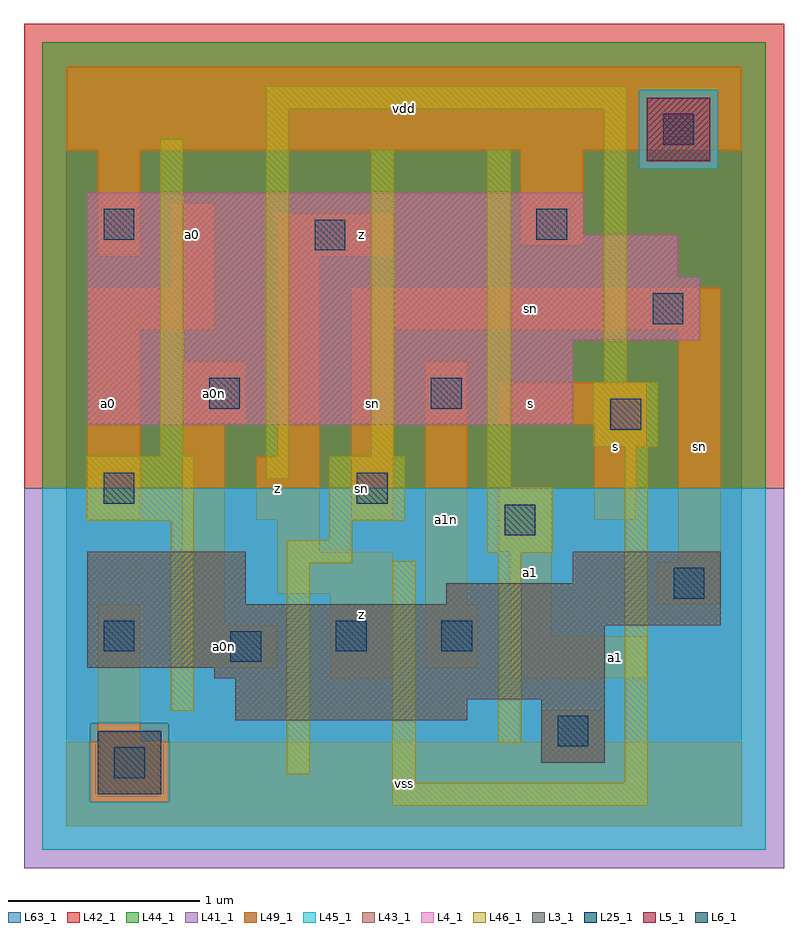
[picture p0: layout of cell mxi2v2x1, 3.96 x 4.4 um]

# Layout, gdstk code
import gdstk
lib = gdstk.Library(unit=1e-6, precision=1e-09)
def R(c, l, rs):  # rectangles x0, y0, x1, y1
    for r in rs: c.add(gdstk.rectangle(r[:2], r[2:], *l))
L3_1 = (3, 1)
L4_1 = (4, 1)
L5_1 = (5, 1)
L6_1 = (6, 1)
L25_1 = (25, 1)
L41_1 = (41, 1)
L42_1 = (42, 1)
L43_1 = (43, 1)
L44_1 = (44, 1)
L45_1 = (45, 1)
L46_1 = (46, 1)
L49_1 = (49, 1)
L63_1 = (63, 1)

mxi2v2x1 = lib.new_cell('mxi2v2x1')
R(mxi2v2x1, L3_1, [(2.475,0.33,2.805,0.66), (0.88,0.55,2.09,0.66), (0.88,0.66,2.805,0.77), (0.77,0.77,2.805,0.825), (0.11,0.825,2.805,1.045), (0.11,1.045,3.41,1.155), (0.11,1.155,0.935,1.43), (1.98,1.155,3.41,1.265), (2.64,1.265,3.41,1.43)])
R(mxi2v2x1, L4_1, [(0.11,2.09,2.64,2.53), (0.11,2.53,3.3,2.86), (0.11,2.86,3.19,3.08), (0.11,3.08,2.695,3.3)])
R(mxi2v2x1, L5_1, [(3.025,3.465,3.355,3.795)])
R(mxi2v2x1, L6_1, [(0.165,0.165,0.495,0.495)])
R(mxi2v2x1, L25_1, [(0.25,0.25,0.41,0.41), (2.56,0.415,2.72,0.575), (0.855,0.855,1.015,1.015), (0.195,0.91,0.355,1.07), (1.405,0.91,1.565,1.07), (1.955,0.91,2.115,1.07), (3.165,1.185,3.325,1.345), (2.285,1.515,2.445,1.675), (0.195,1.68,0.355,1.84), (1.515,1.68,1.675,1.84), (2.835,2.065,2.995,2.225), (0.745,2.175,0.905,2.335), (1.9,2.175,2.06,2.335), (3.055,2.615,3.215,2.775), (1.295,3,1.455,3.16), (0.195,3.055,0.355,3.215), (2.45,3.055,2.61,3.215), (3.11,3.55,3.27,3.71)])
R(mxi2v2x1, L41_1, [(-0.22,-0.22,3.74,1.76)])
R(mxi2v2x1, L42_1, [(-0.22,1.76,3.74,4.18)])
R(mxi2v2x1, L43_1, [(0.165,0.165,0.495,0.495), (2.475,0.33,2.805,0.66), (0.88,0.55,2.09,0.66), (0.88,0.66,2.805,0.77), (0.77,0.77,2.805,0.825), (0.11,0.825,2.805,1.045), (0.11,1.045,3.41,1.155), (0.11,1.155,0.935,1.43), (1.98,1.155,3.41,1.265), (2.64,1.265,3.41,1.43), (0.11,2.09,2.64,2.53), (0.11,2.53,3.3,2.86), (0.11,2.86,3.19,3.08), (0.11,3.08,2.695,3.3), (3.025,3.465,3.355,3.795)])
R(mxi2v2x1, L44_1, [(0.125,0.125,0.535,0.535), (-0.125,1.76,3.645,3.425), (-0.125,3.425,2.985,3.835), (3.395,3.425,3.645,3.835), (-0.125,3.835,3.645,4.085)])
R(mxi2v2x1, L45_1, [(-0.125,-0.125,3.645,0.125), (-0.125,0.125,0.125,0.535), (0.535,0.125,3.645,0.535), (-0.125,0.535,3.645,1.76), (2.985,3.425,3.395,3.835)])
R(mxi2v2x1, L46_1, [(1.7,0.105,3.03,0.225), (1.7,0.225,1.82,1.38), (2.91,0.225,3.03,1.975), (1.15,0.27,1.27,1.37), (2.25,0.435,2.37,1.425), (0.545,0.6,0.665,1.59), (1.15,1.37,1.49,1.49), (2.195,1.425,2.535,1.765), (1.37,1.49,1.49,1.59), (0.105,1.59,0.665,1.93), (1.37,1.59,1.765,1.93), (2.195,1.765,2.315,3.525), (1.04,1.81,1.16,3.735), (0.49,1.93,0.61,3.58), (1.59,1.93,1.71,3.525), (2.745,1.975,3.085,2.315), (2.8,2.315,2.92,3.735), (1.04,3.735,2.92,3.855)])
R(mxi2v2x1, L49_1, [(0,0,3.52,0.44), (0.165,0.44,0.385,1.155), (2.475,0.44,2.805,0.605), (1.375,0.77,1.705,1.21), (2.31,0.77,3.025,0.99), (0.605,0.825,1.1,1.045), (1.87,0.825,2.145,1.155), (2.31,0.99,2.53,1.43), (0.605,1.045,0.825,2.09), (1.87,1.155,2.09,2.42), (3.08,1.155,3.41,1.375), (1.1,1.21,1.705,1.43), (3.19,1.375,3.41,2.585), (1.1,1.43,1.32,1.595), (2.255,1.43,2.53,1.76), (0.11,1.595,0.385,2.585), (0.99,1.595,1.32,1.925), (1.485,1.595,1.705,2.585), (2.75,1.595,2.97,1.98), (1.1,1.925,1.32,2.97), (2.75,1.98,3.025,2.09), (0.605,2.09,0.935,2.42), (2.255,2.09,3.025,2.31), (0.11,2.585,0.77,2.805), (1.485,2.585,3.41,2.805), (0.55,2.805,0.77,3.245), (0.165,2.97,0.385,3.52), (1.1,2.97,1.705,3.19), (2.365,3.025,2.695,3.52), (0,3.52,3.52,3.96)])
R(mxi2v2x1, L63_1, [(0,0,3.52,3.96)])
mxi2v2x1.add(gdstk.Label('sn', (1.54,1.76), layer=49, texttype=1))
mxi2v2x1.add(gdstk.Label('a0', (0.22,2.2), layer=49, texttype=1))
mxi2v2x1.add(gdstk.Label('a0', (0.66,3.08), layer=49, texttype=1))
mxi2v2x1.add(gdstk.Label('z', (1.54,1.1), layer=49, texttype=1))
mxi2v2x1.add(gdstk.Label('a0n', (0.825,0.935), layer=49, texttype=1))
mxi2v2x1.add(gdstk.Label('z', (1.1,1.76), layer=49, texttype=1))
mxi2v2x1.add(gdstk.Label('sn', (1.595,2.2), layer=49, texttype=1))
mxi2v2x1.add(gdstk.Label('a0n', (0.77,2.255), layer=49, texttype=1))
mxi2v2x1.add(gdstk.Label('z', (1.54,3.08), layer=49, texttype=1))
mxi2v2x1.add(gdstk.Label('vss', (1.76,0.22), layer=49, texttype=1))
mxi2v2x1.add(gdstk.Label('a1', (2.42,1.32), layer=49, texttype=1))
mxi2v2x1.add(gdstk.Label('s', (2.42,2.2), layer=49, texttype=1))
mxi2v2x1.add(gdstk.Label('a1n', (1.98,1.595), layer=49, texttype=1))
mxi2v2x1.add(gdstk.Label('vdd', (1.76,3.74), layer=49, texttype=1))
mxi2v2x1.add(gdstk.Label('a1', (2.86,0.88), layer=49, texttype=1))
mxi2v2x1.add(gdstk.Label('sn', (3.3,1.98), layer=49, texttype=1))
mxi2v2x1.add(gdstk.Label('s', (2.86,1.98), layer=49, texttype=1))
mxi2v2x1.add(gdstk.Label('sn', (2.42,2.695), layer=49, texttype=1))

lib.write_gds('mxi2v2x1.gds')
